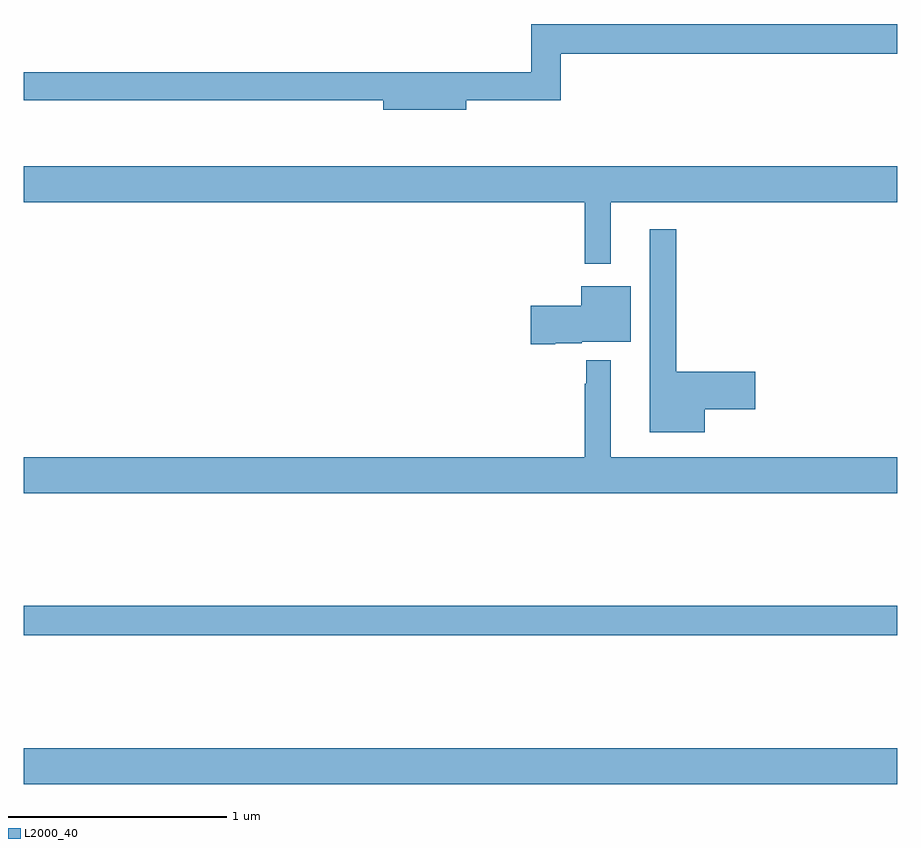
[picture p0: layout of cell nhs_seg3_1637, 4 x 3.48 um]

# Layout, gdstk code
import gdstk
lib = gdstk.Library(unit=1e-6, precision=1e-09)
def R(c, l, rs):  # rectangles x0, y0, x1, y1
    for r in rs: c.add(gdstk.rectangle(r[:2], r[2:], *l))
def P(c, l, *ps):  # polygons
    for p in ps: c.add(gdstk.Polygon(p, *l))
L2000_40 = (2000, 40)

nhs_seg3_1637 = lib.new_cell('nhs_seg3_1637')
R(nhs_seg3_1637, L2000_40, [(195,720.896,199,721.06), (195,721.576,199,721.712)])
P(nhs_seg3_1637, L2000_40, [(197.026,724.026),(197.459,724.026),(197.459,724.24),(199,724.24),(199,724.376),(197.323,724.376),(197.323,724.154),(195,724.154),(195,724.026),(196.646,724.026),(196.646,723.983),(197.026,723.983)],
  [(197.689,723.56),(199,723.56),(199,723.724),(195,723.724),(195,723.56),(197.568,723.56),(197.568,723.279),(197.689,723.279)],
  [(198.118,722.612),(198.349,722.612),(198.349,722.783),(197.989,722.783),(197.989,723.436),(197.867,723.436),(197.867,722.507),(198.118,722.507)],
  [(197.434,722.915),(197.556,722.915),(197.556,722.921),(197.779,722.921),(197.779,723.175),(197.552,723.175),(197.552,723.087),(197.322,723.087),(197.322,722.909),(197.434,722.909)],
  [(199,722.392),(197.689,722.392),(197.689,722.836),(197.575,722.836),(197.575,722.729),(197.568,722.729),(197.568,722.392),(195,722.392),(195,722.228),(199,722.228)])

lib.write_gds('nhs_seg3_1637.gds')
